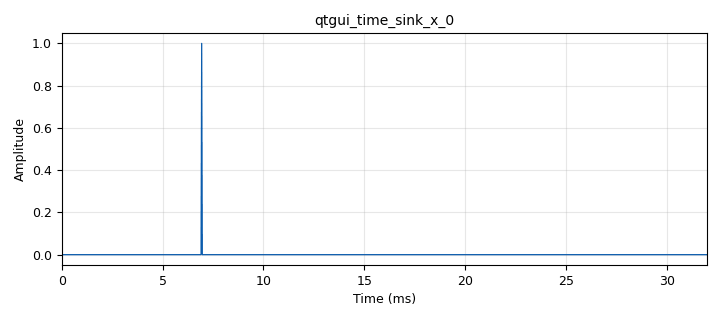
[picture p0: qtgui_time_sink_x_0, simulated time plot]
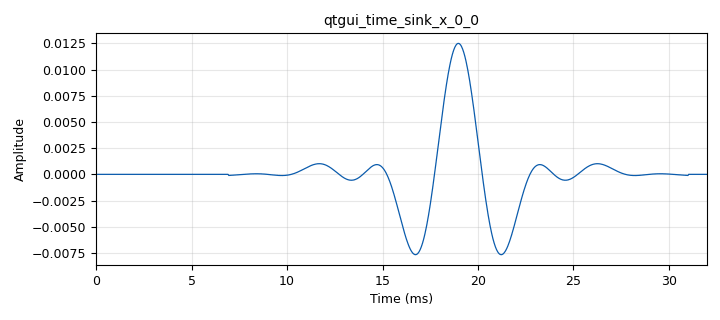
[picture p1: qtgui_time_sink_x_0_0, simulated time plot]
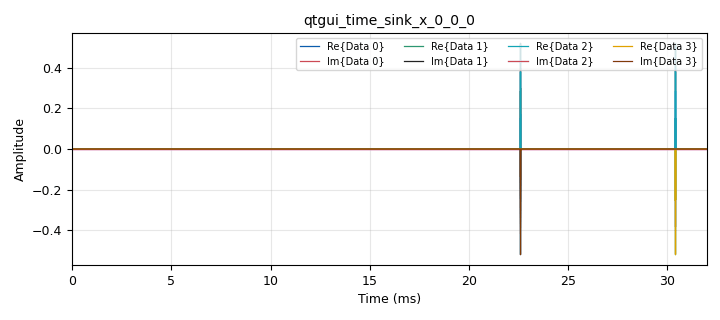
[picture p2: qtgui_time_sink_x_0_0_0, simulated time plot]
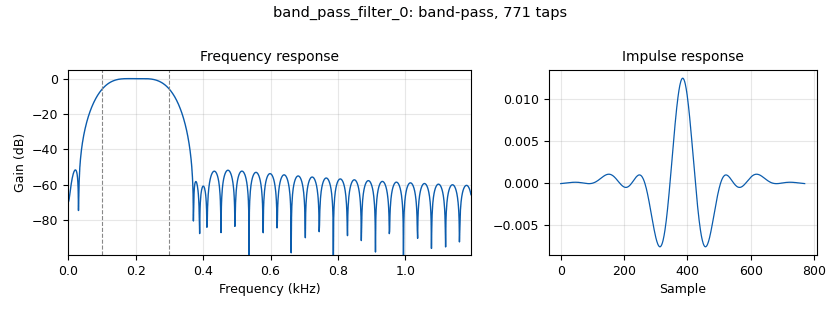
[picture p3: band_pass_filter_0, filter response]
<?xml version='1.0' encoding='utf-8'?>
<?grc format='1' created='3.7.11'?>
<flow_graph>
<block>
<key>options</key>
<param><key>id</key><value>top_block</value></param>
<param><key>generate_options</key><value>qt_gui</value></param>
</block>
<block>
<key>variable</key>
<param><key>id</key><value>samp_rate</value></param>
<param><key>value</key><value>32000</value></param>
</block>
<block>
<key>band_pass_filter</key>
<param><key>id</key><value>band_pass_filter_0</value></param>
<param><key>decim</key><value>1</value></param>
<param><key>type</key><value>fir_filter_fff</value></param>
<param><key>gain</key><value>1</value></param>
<param><key>high_cutoff_freq</key><value>300</value></param>
<param><key>low_cutoff_freq</key><value>100</value></param>
<param><key>samp_rate</key><value>samp_rate</value></param>
<param><key>width</key><value>100</value></param>
<param><key>win</key><value>firdes.WIN_HAMMING</value></param>
</block>
<block>
<key>blocks_stream_to_vector</key>
<param><key>id</key><value>blocks_stream_to_vector_0</value></param>
<param><key>type</key><value>float</value></param>
<param><key>num_items</key><value>4</value></param>
</block>
<block>
<key>blocks_throttle</key>
<param><key>id</key><value>blocks_throttle_0</value></param>
<param><key>samples_per_second</key><value>samp_rate</value></param>
<param><key>type</key><value>float</value></param>
</block>
<block>
<key>blocks_vector_source_x</key>
<param><key>id</key><value>blocks_vector_source_x_0</value></param>
<param><key>type</key><value>float</value></param>
<param><key>repeat</key><value>True</value></param>
<param><key>vector</key><value>[0]*1000+[1]</value></param>
</block>
<block>
<key>blocks_vector_to_streams</key>
<param><key>id</key><value>blocks_vector_to_streams_0</value></param>
<param><key>type</key><value>complex</value></param>
<param><key>num_streams</key><value>4</value></param>
</block>
<block>
<key>fft_vxx</key>
<param><key>id</key><value>fft_vxx_0</value></param>
<param><key>fft_size</key><value>4</value></param>
<param><key>forward</key><value>True</value></param>
<param><key>type</key><value>float</value></param>
<param><key>shift</key><value>True</value></param>
<param><key>window</key><value>window.blackmanharris(4)</value></param>
</block>
<block>
<key>filterbank_vcvcf</key>
<param><key>id</key><value>filterbank_vcvcf_0</value></param>
</block>
<block>
<key>low_pass_filter</key>
<param><key>id</key><value>low_pass_filter_0</value></param>
<param><key>cutoff_freq</key><value>samp_rate/2</value></param>
<param><key>decim</key><value>1</value></param>
<param><key>_enabled</key><value>2</value></param>
<param><key>type</key><value>fir_filter_fff</value></param>
<param><key>gain</key><value>1</value></param>
<param><key>samp_rate</key><value>samp_rate</value></param>
<param><key>width</key><value>100</value></param>
<param><key>win</key><value>firdes.WIN_HAMMING</value></param>
</block>
<block>
<key>qtgui_time_sink_x</key>
<param><key>id</key><value>qtgui_time_sink_x_0</value></param>
<param><key>autoscale</key><value>True</value></param>
<param><key>color1</key><value>"blue"</value></param>
<param><key>label1</key><value></value></param>
<param><key>size</key><value>1024</value></param>
<param><key>srate</key><value>samp_rate</value></param>
<param><key>type</key><value>float</value></param>
</block>
<block>
<key>qtgui_time_sink_x</key>
<param><key>id</key><value>qtgui_time_sink_x_0_0</value></param>
<param><key>autoscale</key><value>True</value></param>
<param><key>color1</key><value>"blue"</value></param>
<param><key>label1</key><value></value></param>
<param><key>size</key><value>1024</value></param>
<param><key>srate</key><value>samp_rate</value></param>
<param><key>type</key><value>float</value></param>
</block>
<block>
<key>qtgui_time_sink_x</key>
<param><key>id</key><value>qtgui_time_sink_x_0_0_0</value></param>
<param><key>autoscale</key><value>True</value></param>
<param><key>color1</key><value>"blue"</value></param>
<param><key>label1</key><value></value></param>
<param><key>color2</key><value>"red"</value></param>
<param><key>label2</key><value></value></param>
<param><key>color3</key><value>"green"</value></param>
<param><key>label3</key><value></value></param>
<param><key>color4</key><value>"black"</value></param>
<param><key>label4</key><value></value></param>
<param><key>color5</key><value>"cyan"</value></param>
<param><key>label5</key><value></value></param>
<param><key>color6</key><value>"magenta"</value></param>
<param><key>label6</key><value></value></param>
<param><key>color7</key><value>"yellow"</value></param>
<param><key>label7</key><value></value></param>
<param><key>color8</key><value>"dark red"</value></param>
<param><key>label8</key><value></value></param>
<param><key>nconnections</key><value>4</value></param>
<param><key>size</key><value>1024</value></param>
<param><key>srate</key><value>samp_rate</value></param>
<param><key>type</key><value>complex</value></param>
</block>
<connection><source_block_id>band_pass_filter_0</source_block_id><sink_block_id>qtgui_time_sink_x_0_0</sink_block_id><source_key>0</source_key><sink_key>0</sink_key></connection>
<connection><source_block_id>blocks_stream_to_vector_0</source_block_id><sink_block_id>fft_vxx_0</sink_block_id><source_key>0</source_key><sink_key>0</sink_key></connection>
<connection><source_block_id>blocks_throttle_0</source_block_id><sink_block_id>low_pass_filter_0</sink_block_id><source_key>0</source_key><sink_key>0</sink_key></connection>
<connection><source_block_id>blocks_vector_source_x_0</source_block_id><sink_block_id>blocks_throttle_0</sink_block_id><source_key>0</source_key><sink_key>0</sink_key></connection>
<connection><source_block_id>blocks_vector_to_streams_0</source_block_id><sink_block_id>qtgui_time_sink_x_0_0_0</sink_block_id><source_key>0</source_key><sink_key>0</sink_key></connection>
<connection><source_block_id>blocks_vector_to_streams_0</source_block_id><sink_block_id>qtgui_time_sink_x_0_0_0</sink_block_id><source_key>1</source_key><sink_key>1</sink_key></connection>
<connection><source_block_id>blocks_vector_to_streams_0</source_block_id><sink_block_id>qtgui_time_sink_x_0_0_0</sink_block_id><source_key>2</source_key><sink_key>2</sink_key></connection>
<connection><source_block_id>blocks_vector_to_streams_0</source_block_id><sink_block_id>qtgui_time_sink_x_0_0_0</sink_block_id><source_key>3</source_key><sink_key>3</sink_key></connection>
<connection><source_block_id>fft_vxx_0</source_block_id><sink_block_id>blocks_vector_to_streams_0</sink_block_id><source_key>0</source_key><sink_key>0</sink_key></connection>
<connection><source_block_id>low_pass_filter_0</source_block_id><sink_block_id>band_pass_filter_0</sink_block_id><source_key>0</source_key><sink_key>0</sink_key></connection>
<connection><source_block_id>low_pass_filter_0</source_block_id><sink_block_id>blocks_stream_to_vector_0</sink_block_id><source_key>0</source_key><sink_key>0</sink_key></connection>
<connection><source_block_id>low_pass_filter_0</source_block_id><sink_block_id>qtgui_time_sink_x_0</sink_block_id><source_key>0</source_key><sink_key>0</sink_key></connection>
</flow_graph>
